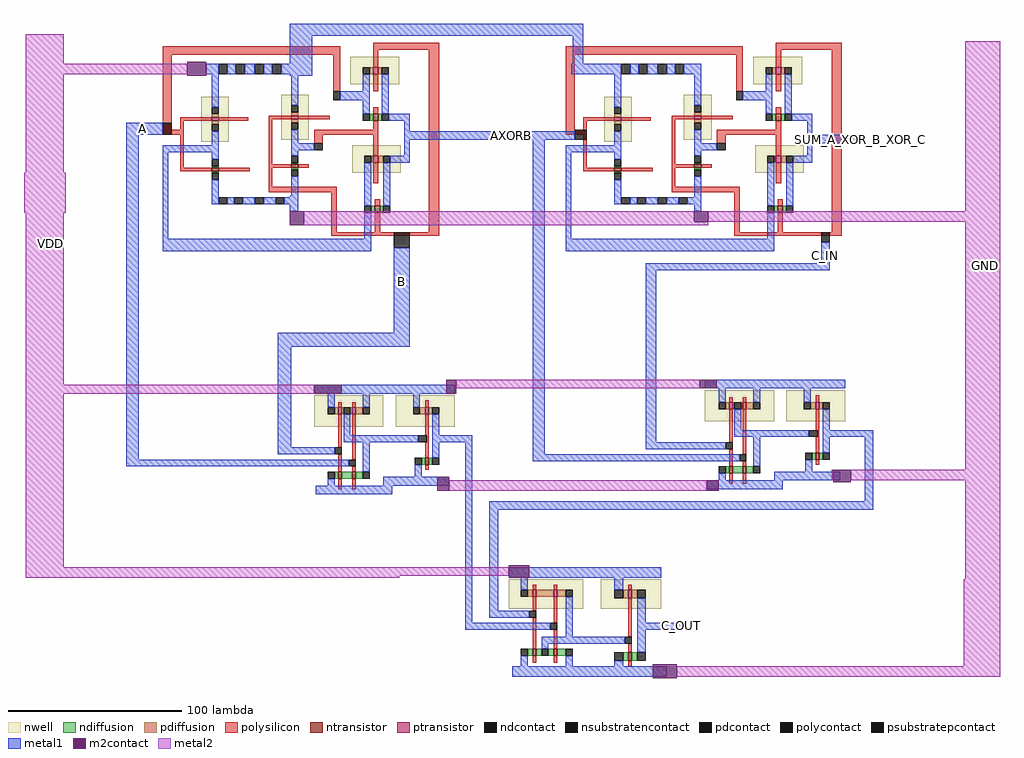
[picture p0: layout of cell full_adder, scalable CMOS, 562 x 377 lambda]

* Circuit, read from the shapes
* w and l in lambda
.subckt full_adder A AXORB B C_IN C_OUT GND SUM_A_XOR_B_XOR_C VDD
M1 q1d_2_INPUT_XOR_0/ABAR A GND GND nfet w=4 l=2
M2 q1d_2_INPUT_XOR_0/BBAR B GND GND nfet w=4 l=2
M3 n1 B GND GND nfet w=4 l=2
M4 2_input_AND_0/OUT A n1 GND nfet w=4 l=2
M5 AXORB q1d_2_INPUT_XOR_0/BBAR A GND nfet w=4 l=3
M6 AXORB B q1d_2_INPUT_XOR_0/ABAR GND nfet w=4 l=3
M7 2_input_OR_0/B 2_input_AND_0/OUT GND GND nfet w=4 l=2
M8 2_input_OR_0/OUT 2_input_OR_0/A GND GND nfet w=4 l=2
M9 GND 2_input_OR_0/B 2_input_OR_0/OUT GND nfet w=4 l=2
M10 q1d_2_INPUT_XOR_1/ABAR AXORB GND GND nfet w=4 l=2
M11 C_OUT 2_input_OR_0/OUT GND GND nfet w=5 l=2
M12 q1d_2_INPUT_XOR_1/BBAR C_IN GND GND nfet w=4 l=2
M13 n2 C_IN GND GND nfet w=4 l=2
M14 2_input_AND_1/OUT AXORB n2 GND nfet w=4 l=2
M15 SUM_A_XOR_B_XOR_C q1d_2_INPUT_XOR_1/BBAR AXORB GND nfet w=4 l=3
M16 SUM_A_XOR_B_XOR_C C_IN q1d_2_INPUT_XOR_1/ABAR GND nfet w=4 l=3
M17 2_input_OR_0/A 2_input_AND_1/OUT GND GND nfet w=4 l=2
M18 VDD A q1d_2_INPUT_XOR_0/ABAR n3 pfet w=4 l=2
M19 VDD B q1d_2_INPUT_XOR_0/BBAR n4 pfet w=4 l=2
M20 2_input_AND_0/OUT B VDD n5 pfet w=4 l=2
M21 VDD A 2_input_AND_0/OUT n5 pfet w=4 l=2
M22 AXORB q1d_2_INPUT_XOR_0/BBAR q1d_2_INPUT_XOR_0/ABAR n6 pfet w=4 l=3
M23 AXORB B A n7 pfet w=4 l=3
M24 2_input_OR_0/B 2_input_AND_0/OUT VDD n8 pfet w=4 l=2
M25 n9 2_input_OR_0/A VDD n10 pfet w=4 l=2
M26 2_input_OR_0/OUT 2_input_OR_0/B n9 n10 pfet w=4 l=2
M27 VDD AXORB q1d_2_INPUT_XOR_1/ABAR n11 pfet w=4 l=2
M28 C_OUT 2_input_OR_0/OUT VDD n12 pfet w=5 l=2
M29 VDD C_IN q1d_2_INPUT_XOR_1/BBAR n13 pfet w=4 l=2
M30 2_input_AND_1/OUT C_IN VDD n14 pfet w=4 l=2
M31 VDD AXORB 2_input_AND_1/OUT n14 pfet w=4 l=2
M32 SUM_A_XOR_B_XOR_C q1d_2_INPUT_XOR_1/BBAR q1d_2_INPUT_XOR_1/ABAR n15 pfet w=4 l=3
M33 SUM_A_XOR_B_XOR_C C_IN AXORB n16 pfet w=4 l=3
M34 2_input_OR_0/A 2_input_AND_1/OUT VDD n17 pfet w=4 l=2
.ends

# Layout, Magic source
magic
tech scmos
<< polycontact >>
rect -39 96 -34 103
rect 198 93 205 99
rect 94 31 103 40
rect 340 34 345 40
<< metal1 >>
rect 34 153 203 160
rect -14 131 -7 137
rect 34 130 47 153
rect 197 137 203 153
rect 196 131 223 137
rect -60 96 -39 103
rect -60 -91 -53 96
rect 100 93 198 98
rect 34 52 39 61
rect 94 -18 103 31
rect 27 -26 103 -18
rect 27 -84 35 -26
rect 128 -81 139 -77
rect 27 -88 58 -84
rect -60 -95 60 -91
rect 135 -185 139 -81
rect 174 -88 181 93
rect 332 91 365 96
rect 267 52 271 60
rect 340 22 345 34
rect 239 18 345 22
rect 239 -81 245 18
rect 352 -78 370 -74
rect 239 -85 283 -81
rect 174 -92 284 -88
rect 365 -115 370 -78
rect 149 -120 370 -115
rect 149 -178 154 -120
rect 149 -182 171 -178
rect 135 -189 183 -185
rect 247 -189 263 -185
<< m2contact >>
rect -25 130 -14 138
rect 34 44 42 52
rect 48 -53 64 -48
rect 124 -53 130 -45
rect 119 -109 126 -101
rect 267 46 275 52
rect 270 -50 280 -45
rect 274 -109 281 -103
rect 347 -104 357 -97
rect 160 -159 172 -152
rect 243 -217 257 -209
<< metal2 >>
rect -118 137 -96 154
rect -118 131 -25 137
rect -118 74 -96 131
rect -119 51 -95 74
rect 423 52 443 150
rect -118 -48 -96 51
rect 42 46 267 52
rect 275 46 443 52
rect 42 44 275 46
rect -118 -53 48 -48
rect 130 -50 270 -45
rect -118 -153 -96 -53
rect 423 -97 443 46
rect 346 -103 347 -97
rect 126 -109 274 -103
rect 357 -103 443 -97
rect -118 -158 160 -153
rect -118 -159 97 -158
rect 423 -160 443 -103
rect 422 -210 443 -160
rect 257 -216 443 -210
use q1d_2_INPUT_XOR  q1d_2_INPUT_XOR_0
transform 1 0 17 0 1 91
box -56 -62 103 58
use q1d_2_INPUT_XOR  q1d_2_INPUT_XOR_1
transform 1 0 249 0 1 91
box -56 -62 103 58
use 2_input_AND  2_input_AND_0
transform 1 0 60 0 1 -81
box -12 -30 69 33
use 2_input_AND  2_input_AND_1
transform 1 0 285 0 1 -78
box -12 -30 69 33
use 2_input_OR  2_input_OR_0
transform 1 0 183 0 1 -192
box -23 -24 68 39
<< labels >>
rlabel metal1 -51 99 -50 100 1 A
rlabel metal2 -105 32 -103 35 1 VDD
rlabel metal2 434 20 435 21 1 GND
rlabel metal1 98 11 99 12 1 B
rlabel metal1 161 95 162 96 1 AXORB
rlabel metal1 342 26 343 27 1 C_IN
rlabel metal1 362 93 363 94 1 SUM_A_XOR_B_XOR_C
rlabel metal1 259 -187 260 -186 1 C_OUT
<< end >>

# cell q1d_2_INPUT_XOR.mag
magic
tech scmos
<< nwell >>
rect 52 34 80 50
rect -34 1 -18 27
rect 12 2 28 28
rect 53 -17 81 -1
<< ntransistor >>
rect 65 13 68 17
rect 18 -14 22 -12
rect -28 -16 -24 -14
rect 66 -40 69 -36
<< ptransistor >>
rect 65 40 68 44
rect -28 13 -24 15
rect 18 14 22 16
rect 65 -11 68 -7
<< ndiffusion >>
rect -28 -14 -24 -13
rect 63 13 65 17
rect 68 13 70 17
rect 18 -12 22 -11
rect -28 -17 -24 -16
rect 18 -15 22 -14
rect 64 -40 66 -36
rect 69 -40 71 -36
<< pdiffusion >>
rect 63 40 65 44
rect 68 40 70 44
rect -28 15 -24 17
rect 18 16 22 18
rect -28 11 -24 13
rect 18 12 22 14
rect 64 -11 65 -7
rect 68 -11 71 -7
<< ndcontact >>
rect -28 -13 -24 -9
rect 59 13 63 17
rect 70 13 74 17
rect 18 -11 22 -7
rect -28 -21 -24 -17
rect 18 -19 22 -15
rect 60 -40 64 -36
rect 71 -40 75 -36
<< pdcontact >>
rect 59 40 63 44
rect 70 40 74 44
rect -28 17 -24 21
rect 18 18 22 22
rect -28 7 -24 11
rect 18 8 22 12
rect 60 -11 64 -7
rect 71 -11 75 -7
<< psubstratepcontact >>
rect -24 -35 -19 -31
rect -15 -35 -10 -31
rect -3 -35 2 -31
rect 9 -35 14 -31
<< nsubstratencontact >>
rect -24 40 -19 46
rect -14 40 -9 46
rect -3 40 2 46
rect 7 40 12 46
<< polysilicon >>
rect -56 51 46 56
rect -56 8 -51 51
rect 42 30 46 51
rect 65 54 103 58
rect 65 44 68 54
rect 65 30 68 40
rect 65 17 68 21
rect -46 13 -28 15
rect -24 13 -7 15
rect 5 14 18 16
rect 22 14 40 16
rect -46 8 -44 13
rect -56 5 -44 8
rect -46 -14 -44 5
rect 5 -12 7 14
rect 65 8 68 13
rect 31 5 68 8
rect 31 0 36 5
rect 65 -7 68 5
rect 5 -14 18 -12
rect 22 -14 28 -12
rect -46 -16 -28 -14
rect -24 -16 -6 -14
rect 5 -25 7 -14
rect 65 -23 68 -11
rect 5 -28 44 -25
rect 41 -51 44 -28
rect 66 -36 69 -32
rect 66 -51 69 -40
rect 97 -51 103 54
rect 41 -53 103 -51
<< polycontact >>
rect 42 25 46 30
rect 31 -4 36 0
<< metal1 >>
rect -28 21 -24 46
rect -19 40 -14 46
rect -9 40 -3 46
rect 2 40 7 46
rect 12 40 22 46
rect 18 22 22 40
rect 59 30 63 40
rect 46 25 63 30
rect 59 17 63 25
rect 70 17 74 40
rect 74 13 86 17
rect -28 -1 -24 7
rect -56 -5 -24 -1
rect -56 -55 -53 -5
rect -28 -9 -24 -5
rect 18 0 22 8
rect 18 -4 31 0
rect 18 -7 22 -4
rect 83 -7 86 13
rect -28 -35 -24 -21
rect 18 -31 22 -19
rect -19 -35 -15 -31
rect -10 -35 -3 -31
rect 2 -35 9 -31
rect 14 -35 22 -31
rect 60 -36 64 -11
rect 75 -11 86 -7
rect 71 -36 75 -11
rect 60 -55 64 -40
rect -56 -62 64 -55
<< labels >>
rlabel polysilicon -45 2 -45 3 1 A
rlabel polysilicon 6 2 6 3 1 B
rlabel metal1 84 3 84 4 1 OUT
rlabel metal1 -27 -4 -26 -1 1 ABAR
rlabel metal1 20 3 21 6 1 BBAR
rlabel metal1 -7 41 -6 42 1 VDD
rlabel metal1 5 -34 6 -33 1 GND
<< end >>

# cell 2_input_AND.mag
magic
tech scmos
<< nwell >>
rect -12 9 28 27
rect 35 9 69 27
<< ntransistor >>
rect 52 -13 54 -9
rect 2 -21 4 -17
rect 10 -21 12 -17
<< ptransistor >>
rect 2 16 4 20
rect 10 16 12 20
rect 52 16 54 20
<< ndiffusion >>
rect 50 -13 52 -9
rect 54 -13 56 -9
rect 0 -21 2 -17
rect 4 -21 10 -17
rect 12 -21 16 -17
<< pdiffusion >>
rect 0 16 2 20
rect 4 16 5 20
rect 9 16 10 20
rect 12 16 16 20
rect 49 16 52 20
rect 54 16 56 20
<< ndcontact >>
rect 46 -13 50 -9
rect 56 -13 60 -9
rect -4 -21 0 -17
rect 16 -21 20 -17
<< pdcontact >>
rect -4 16 0 20
rect 5 16 9 20
rect 16 16 20 20
rect 45 16 49 20
rect 56 16 60 20
<< polysilicon >>
rect 2 20 4 23
rect 10 20 12 23
rect 52 20 54 24
rect 2 -3 4 16
rect 2 -17 4 -7
rect 10 -10 12 16
rect 52 4 54 16
rect 53 0 54 4
rect 52 -9 54 0
rect 10 -17 12 -14
rect 52 -16 54 -13
rect 2 -27 4 -21
rect 10 -27 12 -21
<< polycontact >>
rect 0 -7 4 -3
rect 48 0 53 4
rect 8 -14 12 -10
<< metal1 >>
rect -12 28 69 33
rect -4 20 0 28
rect 16 20 20 28
rect 45 20 49 28
rect 5 4 9 16
rect 56 4 60 16
rect 5 0 48 4
rect 56 0 69 4
rect -3 -7 0 -3
rect -3 -14 8 -10
rect 16 -17 20 0
rect 56 -9 60 0
rect 46 -20 50 -13
rect -4 -25 0 -21
rect 28 -25 66 -20
rect -11 -30 33 -25
<< labels >>
rlabel metal1 33 30 34 31 5 VDD
rlabel metal1 -1 -5 0 -4 1 A
rlabel metal1 0 -12 1 -11 1 B
rlabel metal1 37 1 38 2 1 OUT
rlabel metal1 65 2 66 3 7 OUT_FINAL
rlabel metal1 24 -29 25 -28 1 GND
<< end >>

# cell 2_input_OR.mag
magic
tech scmos
<< nwell >>
rect -23 15 20 32
rect 30 15 65 32
<< ntransistor >>
rect -9 -12 -7 -8
rect 3 -12 5 -8
rect 46 -15 48 -10
<< ptransistor >>
rect -9 22 -7 26
rect 3 22 5 26
rect 46 21 48 26
<< ndiffusion >>
rect -12 -12 -9 -8
rect -7 -12 -4 -8
rect 0 -12 3 -8
rect 5 -12 10 -8
rect 43 -15 46 -10
rect 48 -15 51 -10
<< pdiffusion >>
rect -12 22 -9 26
rect -7 22 3 26
rect 5 22 10 26
rect 43 21 46 26
rect 48 21 51 26
<< ndcontact >>
rect -16 -12 -12 -8
rect -4 -12 0 -8
rect 10 -12 14 -8
rect 38 -15 43 -10
rect 51 -15 56 -10
<< pdcontact >>
rect -16 22 -12 26
rect 10 22 14 26
rect 38 21 43 26
rect 51 21 56 26
<< polysilicon >>
rect -9 26 -7 29
rect 3 26 5 29
rect 46 26 48 29
rect -9 14 -7 22
rect -9 -8 -7 10
rect 3 7 5 22
rect 3 -8 5 3
rect 46 -1 48 21
rect 46 -10 48 -5
rect -9 -16 -7 -12
rect 3 -16 5 -12
rect 46 -18 48 -15
<< polycontact >>
rect -11 10 -7 14
rect 1 3 5 7
rect 44 -5 48 -1
<< metal1 >>
rect -23 33 65 39
rect -16 26 -12 33
rect 38 26 43 33
rect -14 10 -11 14
rect -1 3 1 7
rect 10 -1 14 22
rect 51 7 56 21
rect 51 3 68 7
rect -4 -5 44 -1
rect -4 -8 0 -5
rect 51 -10 56 3
rect -16 -18 -12 -12
rect 10 -18 14 -12
rect 38 -18 43 -15
rect -21 -24 68 -18
<< labels >>
rlabel metal1 25 35 26 36 5 VDD
rlabel metal1 -13 11 -12 12 1 A
rlabel metal1 0 4 1 5 1 B
rlabel metal1 26 -4 27 -3 1 OUT
rlabel metal1 22 -21 23 -20 1 GND
rlabel metal1 65 5 66 6 7 OUT_FINAL
<< end >>
